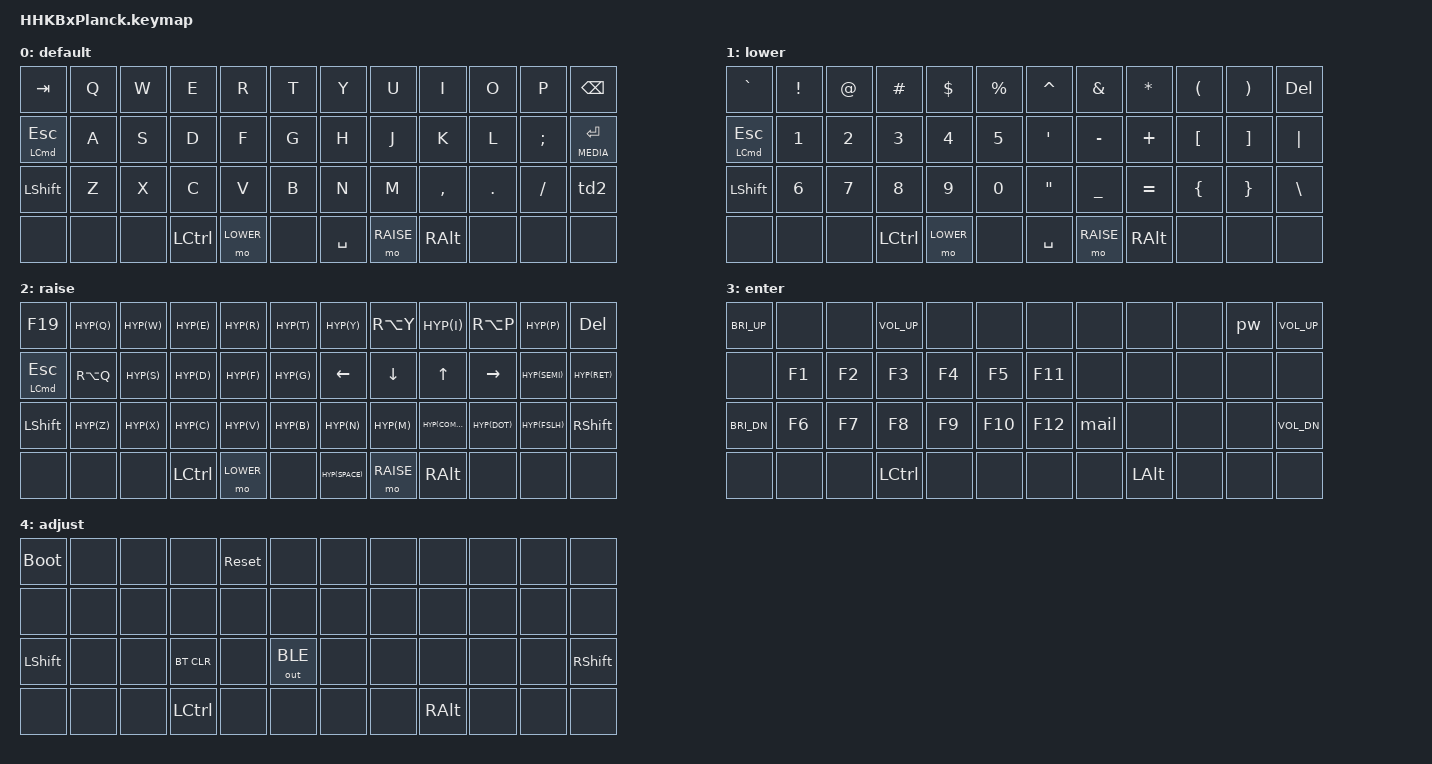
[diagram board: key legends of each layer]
/*
 * Copyright (c) 2020 The ZMK Contributors
 *
 * SPDX-License-Identifier: MIT
 */

#include <behaviors.dtsi>
#include <dt-bindings/zmk/keys.h>
#include <dt-bindings/zmk/bt.h>
#include <dt-bindings/zmk/outputs.h>

// #include <dt-bindings/zmk/ext_power.h> */

#define HYP(code) LC(LS(LA(LG(code)))) // Hyper key: ctrl + shift + alt + super
#define MEH(code) LC(LS(LA(code))) // Meh key: ctrl + shift + alt


#define DEFAULT 0
#define LOWER   1
#define RAISE   2
#define MEDIA   3
#define ADJUST  4

/ {
    behaviors {
            td1: capslock {
                compatible = "zmk,behavior-tap-dance";
                label = "TAP_DANCE_1";
				#binding-cells= <0>;
                tapping-term-ms = <300>;
                bindings = <&kp LSHFT>, <&kp CAPS>;
            };
            td2: capsword {
                compatible = "zmk,behavior-tap-dance";
                label = "TAP_DANCE_2";
				#binding-cells= <0>;
                tapping-term-ms = <300>;
                bindings = <&kp RSHFT>, <&caps_word>;
            };
			//# ht: hold_tap {
			//# 	compatible = "zmk,behavior-hold-tap";
			//# 	label = "Hold Tap";
			//# 	#binding-cells = <2>;
			//# 	tapping-term-ms = <200>;
			//# 	flavor = "tap-preferred";
			//# 	bindings = <&m1 &kp>, <&kp>;
			//# };
        };

    macros {
            pw: pw {
                label = "PW";
                compatible = "zmk,behavior-macro";
                #binding-cells = <0>;
                bindings
                    = <&macro_tap &kp N3 &kp N8 &kp N9 &kp N9 &kp RET>
                    ;
            };
            mail: mail {
                label = "Mail";
                compatible = "zmk,behavior-macro";
                #binding-cells = <0>;
                bindings
                    = <&macro_tap &kp P &kp H &kp I &kp L &kp I &kp P
					&kp DOT &kp B &kp U &kp E &kp C &kp H &kp L &kp E &kp R
					&kp AT &kp G &kp M &kp A &kp I &kp L &kp DOT &kp C &kp O &kp M>
                    ;
            };
        };


    conditional_layers {
        compatible = "zmk,conditional-layers";
        tri_layer {
            if-layers = <1 2>;
            then-layer = <4>;
        };
    };

	keymap {
		compatible = "zmk,keymap";
		default {
			bindings = <
//╭───────────────┬───────────────┬───────────────┬───────────────┬───────────────┬───────────────┬───────────────┬───────────────┬───────────────┬───────────────┬───────────────┬───────────────╮
   &kp TAB         &kp Q           &kp W           &kp E           &kp R           &kp T           &kp Y           &kp U           &kp I           &kp O           &kp P           &kp BSPC
//├───────────────┼───────────────┼───────────────┼───────────────┼───────────────┼───────────────┼───────────────┼───────────────┼───────────────┼───────────────┼───────────────┼───────────────┤
   &mt LCMD ESC    &kp A           &kp S           &kp D           &kp F           &kp G           &kp H           &kp J           &kp K           &kp L           &kp SEMI        &lt MEDIA RET
//├───────────────┼───────────────┼───────────────┼───────────────┼───────────────┼───────────────┼───────────────┼───────────────┼───────────────┼───────────────┼───────────────┼───────────────┤
   &kp LSHFT       &kp Z           &kp X           &kp C           &kp V           &kp B           &kp N           &kp M           &kp COMMA       &kp DOT         &kp FSLH        &td2
//╰───────────────┴───────────────┼───────────────┼───────────────┼───────────────┴───────────────┼───────────────┼───────────────┼───────────────┼───────────────┼───────────────┴───────────────╯
   &none           &none           &none           &kp LCTRL       &mo LOWER       &none           &kp SPACE       &mo RAISE       &kp RALT        &none           &none           &none
//                                                ╰───────────────┴───────────────┴───────────────────────────────┴───────────────┴───────────────╯
			>;
		};

		lower {
			bindings = <
//╭───────────────┬───────────────┬───────────────┬───────────────┬───────────────┬───────────────┬───────────────┬───────────────┬───────────────┬───────────────┬───────────────┬───────────────╮
   &kp GRAVE       &kp EXCL        &kp AT          &kp HASH        &kp DLLR        &kp PRCNT       &kp CARET       &kp AMPS        &kp STAR        &kp LPAR        &kp RPAR        &kp DEL
//├───────────────┼───────────────┼───────────────┼───────────────┼───────────────┼───────────────┼───────────────┼───────────────┼───────────────┼───────────────┼───────────────┼───────────────┤
   &mt LCMD ESC    &kp N1          &kp N2          &kp N3          &kp N4          &kp N5          &kp SQT         &kp MINUS       &kp PLUS        &kp LBKT        &kp RBKT        &kp PIPE
//├───────────────┼───────────────┼───────────────┼───────────────┼───────────────┼───────────────┼───────────────┼───────────────┼───────────────┼───────────────┼───────────────┼───────────────┤
   &kp LSHFT       &kp N6          &kp N7          &kp N8          &kp N9          &kp N0          &kp DQT         &kp UNDER       &kp EQUAL       &kp LBRC        &kp RBRC        &kp BSLH
//╰───────────────┴───────────────┼───────────────┼───────────────┼───────────────┴───────────────┼───────────────┼───────────────┼───────────────┼───────────────┼───────────────┴───────────────╯
   &none           &none           &none           &kp LCTRL       &mo LOWER       &none           &kp SPACE       &mo RAISE       &kp RALT        &none           &none           &none
//                                                ╰───────────────┴───────────────┴───────────────────────────────┴───────────────┴───────────────╯
			>;
		};

		raise {
			bindings = <
//╭───────────────┬───────────────┬───────────────┬───────────────┬───────────────┬───────────────┬───────────────┬───────────────┬───────────────┬───────────────┬───────────────┬───────────────╮
   &kp F19         &kp HYP(Q)      &kp HYP(W)      &kp HYP(E)      &kp HYP(R)      &kp HYP(T)      &kp HYP(Y)      &kp RA(Y)       &kp HYP(I)      &kp RA(P)       &kp HYP(P)      &kp DEL
//├───────────────┼───────────────┼───────────────┼───────────────┼───────────────┼───────────────┼───────────────┼───────────────┼───────────────┼───────────────┼───────────────┼───────────────┤
   &mt LCMD ESC    &kp RA(Q)       &kp HYP(S)      &kp HYP(D)      &kp HYP(F)      &kp HYP(G)      &kp LEFT        &kp DOWN        &kp UP          &kp RIGHT       &kp HYP(SEMI)   &kp HYP(RET)
//├───────────────┼───────────────┼───────────────┼───────────────┼───────────────┼───────────────┼───────────────┼───────────────┼───────────────┼───────────────┼───────────────┼───────────────┤
   &kp LSHFT       &kp HYP(Z)      &kp HYP(X)      &kp HYP(C)      &kp HYP(V)      &kp HYP(B)      &kp HYP(N)      &kp HYP(M)      &kp HYP(COMMA)  &kp HYP(DOT)    &kp HYP(FSLH)   &kp RSHFT
//╰───────────────┴───────────────┼───────────────┼───────────────┼───────────────┴───────────────┼───────────────┼───────────────┼───────────────┼───────────────┼───────────────┴───────────────╯
   &none           &none           &none           &kp LCTRL       &mo LOWER       &none           &kp HYP(SPACE)  &mo RAISE       &kp RALT        &none           &none           &none
//                                                ╰───────────────┴───────────────┴───────────────────────────────┴───────────────┴───────────────╯
			>;
		};

		enter {
			bindings = <
//╭───────────────┬───────────────┬───────────────┬───────────────┬───────────────┬───────────────┬───────────────┬───────────────┬───────────────┬───────────────┬───────────────┬───────────────╮
   &kp C_BRI_UP    &none           &none           &kp C_VOL_UP    &none           &none           &none           &none           &none           &none           &pw             &kp C_VOL_UP
//├───────────────┼───────────────┼───────────────┼───────────────┼───────────────┼───────────────┼───────────────┼───────────────┼───────────────┼───────────────┼───────────────┼───────────────┤
   &none           &kp F1          &kp F2          &kp F3          &kp F4          &kp F5          &kp F11         &none           &none           &none           &none           &none
//├───────────────┼───────────────┼───────────────┼───────────────┼───────────────┼───────────────┼───────────────┼───────────────┼───────────────┼───────────────┼───────────────┼───────────────┤
   &kp C_BRI_DN    &kp F6          &kp F7          &kp F8          &kp F9          &kp F10         &kp F12         &mail           &none           &none           &none           &kp C_VOL_DN
//╰───────────────┴───────────────┼───────────────┼───────────────┼───────────────┴───────────────┼───────────────┼───────────────┼───────────────┼───────────────┼───────────────┴───────────────╯
   &none           &none           &none           &kp LCTRL       &none           &none           &none           &none           &kp LALT        &none           &none           &none
//                                                ╰───────────────┴───────────────┴───────────────────────────────┴───────────────┴───────────────╯


			>;
		};
		adjust {
			bindings = <
//╭───────────────┬───────────────┬───────────────┬───────────────┬───────────────┬───────────────┬───────────────┬───────────────┬───────────────┬───────────────┬───────────────┬───────────────╮
   &bootloader     &none           &none           &none           &sys_reset      &none           &none           &none           &none           &none           &none           &none
//├───────────────┼───────────────┼───────────────┼───────────────┼───────────────┼───────────────┼───────────────┼───────────────┼───────────────┼───────────────┼───────────────┼───────────────┤
   &none           &none           &none           &none           &none           &none           &none           &none           &none           &none           &none           &none  
//├───────────────┼───────────────┼───────────────┼───────────────┼───────────────┼───────────────┼───────────────┼───────────────┼───────────────┼───────────────┼───────────────┼───────────────┤
   &kp LSHFT       &none           &none           &bt BT_CLR      &none           &out OUT_BLE    &none           &none           &none           &none           &none           &kp RSHFT
//╰───────────────┴───────────────┼───────────────┼───────────────┼───────────────┴───────────────┼───────────────┼───────────────┼───────────────┼───────────────┼───────────────┴───────────────╯
   &none           &none           &none           &kp LCTRL       &none           &none           &none           &none           &kp RALT        &none           &none           &none
//                                                ╰───────────────┴───────────────┴───────────────────────────────┴───────────────┴───────────────╯


			>;
		};
	};
};
